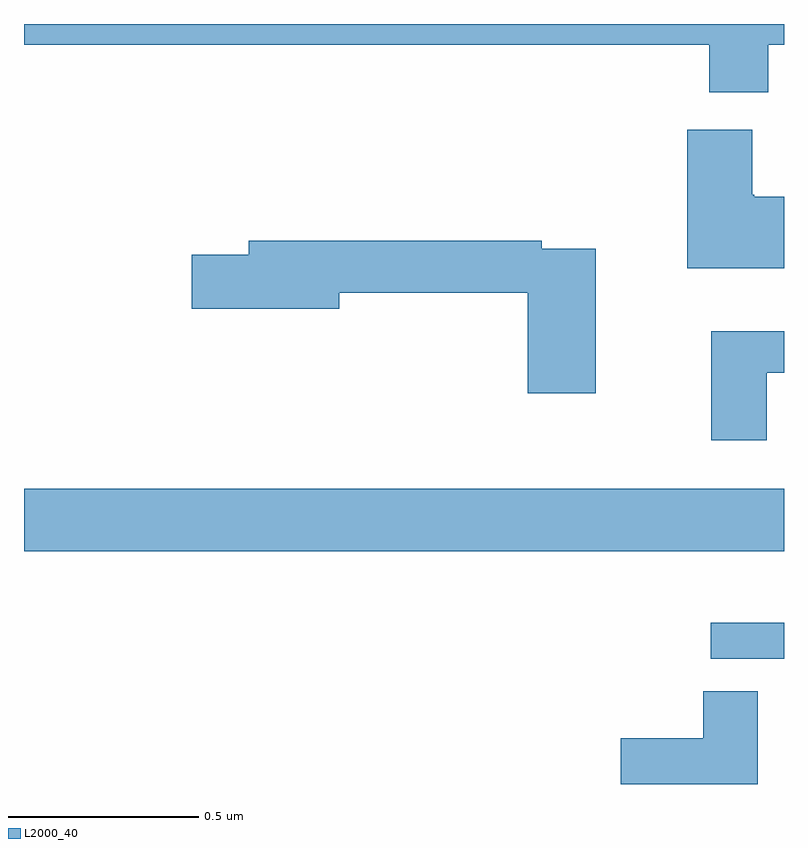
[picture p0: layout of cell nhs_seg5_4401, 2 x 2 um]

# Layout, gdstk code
import gdstk
lib = gdstk.Library(unit=1e-6, precision=1e-09)
def R(c, l, rs):  # rectangles x0, y0, x1, y1
    for r in rs: c.add(gdstk.rectangle(r[:2], r[2:], *l))
def P(c, l, *ps):  # polygons
    for p in ps: c.add(gdstk.Polygon(p, *l))
L2000_40 = (2000, 40)

nhs_seg5_4401 = lib.new_cell('nhs_seg5_4401')
R(nhs_seg5_4401, L2000_40, [(171.807,871.128,172,871.224), (170,871.412,172,871.576)])
P(nhs_seg5_4401, L2000_40, [(171.959,872.744),(172,872.744),(172,872.799),(170,872.799),(170,872.744),(171.803,872.744),(171.803,872.62),(171.959,872.62)],
  [(172,872.344),(171.922,872.344),(171.922,872.35),(171.916,872.35),(171.916,872.521),(171.746,872.521),(171.746,872.156),(172,872.156)],
  [(171.504,872.208),(171.362,872.208),(171.362,872.228),(170.591,872.228),(170.591,872.192),(170.442,872.192),(170.442,872.05),(170.83,872.05),(170.83,872.092),(171.326,872.092),(171.326,871.827),(171.504,871.827)],
  [(171.955,871.881),(172,871.881),(172,871.99),(171.808,871.99),(171.808,871.704),(171.955,871.704)],
  [(171.931,871.043),(171.788,871.043),(171.788,870.92),(171.57,870.92),(171.57,870.799),(171.931,870.799)])

lib.write_gds('nhs_seg5_4401.gds')
